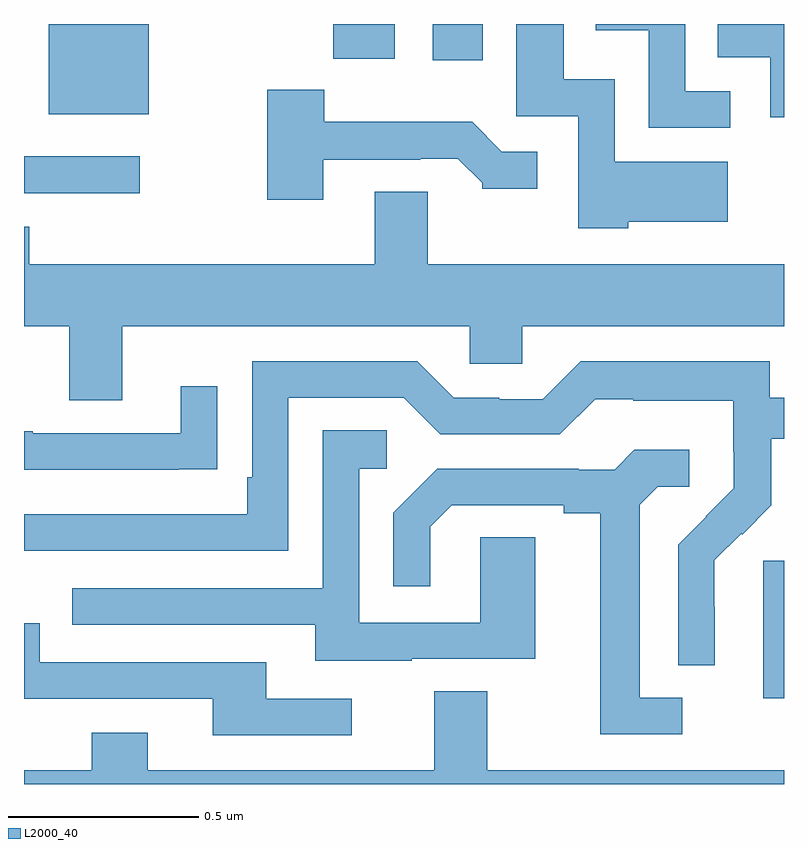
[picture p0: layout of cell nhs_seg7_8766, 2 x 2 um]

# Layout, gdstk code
import gdstk
lib = gdstk.Library(unit=1e-6, precision=1e-09)
def R(c, l, rs):  # rectangles x0, y0, x1, y1
    for r in rs: c.add(gdstk.rectangle(r[:2], r[2:], *l))
def P(c, l, *ps):  # polygons
    for p in ps: c.add(gdstk.Polygon(p, *l))
L2000_40 = (2000, 40)

nhs_seg7_8766 = lib.new_cell('nhs_seg7_8766')
R(nhs_seg7_8766, L2000_40, [(229.946,1078.226,230,1078.587), (228,1079.555,228.304,1079.652), (228.065,1079.762,228.328,1080), (229.076,1079.904,229.207,1080), (228.814,1079.909,228.976,1080)])
P(nhs_seg7_8766, L2000_40, [(229.858,1079.823),(229.74,1079.823),(229.74,1080),(229.505,1080),(229.505,1079.984),(229.644,1079.984),(229.644,1079.727),(229.858,1079.727)],
  [(229.59,1079.48),(229.852,1079.48),(229.852,1079.638),(229.554,1079.638),(229.554,1079.854),(229.42,1079.854),(229.42,1080),(229.295,1080),(229.295,1079.757),(229.458,1079.757),(229.458,1079.462),(229.59,1079.462)],
  [(230,1080),(229.825,1080),(229.825,1079.912),(229.964,1079.912),(229.964,1079.754),(230,1079.754)],
  [(228.787,1079.643),(229.043,1079.643),(229.043,1079.646),(229.142,1079.646),(229.206,1079.582),(229.206,1079.567),(229.351,1079.567),(229.351,1079.664),(229.257,1079.664),(229.179,1079.743),(228.79,1079.743),(228.79,1079.827),(228.64,1079.827),(228.64,1079.538),(228.787,1079.538)],
  [(228.259,1079.204),(229.173,1079.204),(229.173,1079.106),(229.311,1079.106),(229.311,1079.204),(230,1079.204),(230,1079.368),(229.063,1079.368),(229.063,1079.558),(228.923,1079.558),(228.923,1079.368),(228.014,1079.368),(228.014,1079.466),(228,1079.466),(228,1079.204),(228.119,1079.204),(228.119,1079.01),(228.259,1079.01)],
  [(229.818,1078.466),(229.817,1078.466),(229.817,1078.589),(229.887,1078.659),(229.89,1078.656),(229.967,1078.733),(229.967,1078.908),(230,1078.908),(230,1079.016),(229.962,1079.016),(229.962,1079.113),(229.465,1079.113),(229.365,1079.013),(229.25,1079.013),(229.25,1079.016),(229.131,1079.016),(229.035,1079.112),(228.6,1079.112),(228.6,1078.807),(228.587,1078.807),(228.587,1078.71),(228,1078.71),(228,1078.614),(228.696,1078.614),(228.696,1079.016),(228.999,1079.016),(229.095,1078.92),(229.41,1078.92),(229.503,1079.013),(229.603,1079.013),(229.603,1079.009),(229.866,1079.009),(229.866,1078.875),(229.868,1078.875),(229.868,1078.778),(229.794,1078.704),(229.795,1078.703),(229.722,1078.63),(229.722,1078.312),(229.818,1078.312)],
  [(228.407,1078.828),(228.509,1078.828),(228.509,1079.047),(228.413,1079.047),(228.413,1078.923),(228.023,1078.923),(228.023,1078.928),(228,1078.928),(228,1078.827),(228.407,1078.827)],
  [(229.021,1078.329),(229.345,1078.329),(229.345,1078.649),(229.2,1078.649),(229.2,1078.425),(228.882,1078.425),(228.882,1078.83),(228.955,1078.83),(228.955,1078.931),(228.786,1078.931),(228.786,1078.515),(228.127,1078.515),(228.127,1078.419),(228.767,1078.419),(228.767,1078.325),(229.021,1078.325)],
  [(229.732,1078.227),(229.621,1078.227),(229.621,1078.735),(229.668,1078.782),(229.75,1078.782),(229.75,1078.879),(229.606,1078.879),(229.554,1078.827),(229.46,1078.827),(229.46,1078.83),(229.088,1078.83),(228.972,1078.714),(228.972,1078.521),(229.069,1078.521),(229.069,1078.677),(229.126,1078.734),(229.421,1078.734),(229.421,1078.712),(229.517,1078.712),(229.517,1078.131),(229.732,1078.131)],
  [(228.862,1078.224),(228.637,1078.224),(228.637,1078.32),(228.042,1078.32),(228.042,1078.423),(228,1078.423),(228,1078.224),(228.497,1078.224),(228.497,1078.128),(228.862,1078.128)],
  [(230,1078.036),(229.219,1078.036),(229.219,1078.244),(229.079,1078.244),(229.079,1078.036),(228.325,1078.036),(228.325,1078.135),(228.178,1078.135),(228.178,1078.036),(228,1078.036),(228,1078),(230,1078)])

lib.write_gds('nhs_seg7_8766.gds')
